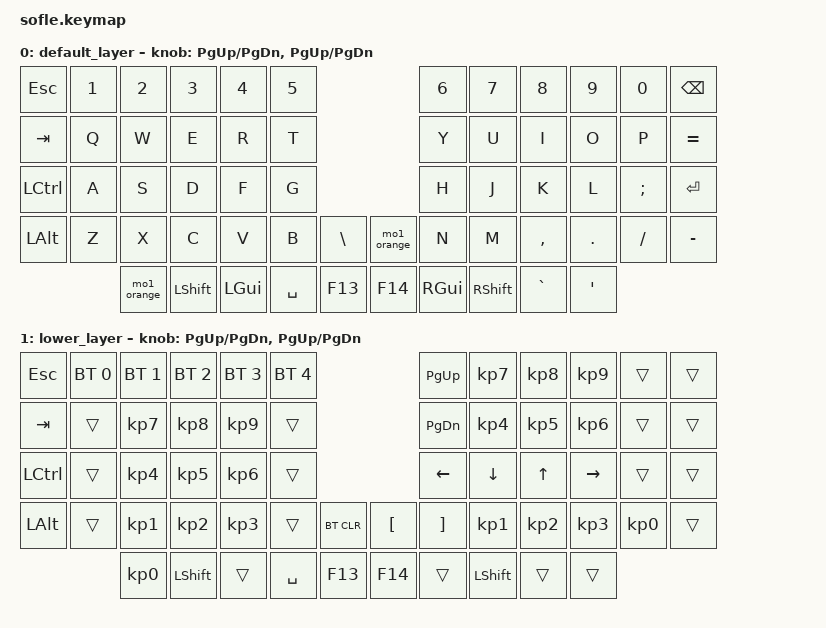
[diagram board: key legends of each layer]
/*
 * Copyright (c) 2020 The ZMK Contributors
 *
 * SPDX-License-Identifier: MIT
 */

#include <behaviors.dtsi>
#include <dt-bindings/zmk/keys.h>
#include <dt-bindings/zmk/bt.h>
#include <dt-bindings/zmk/ext_power.h>
#include <dt-bindings/zmk/rgb.h>

/ {
    macros {
        mo1_orange: mo1_orange {
            compatible = "zmk,behavior-macro";
            #binding-cells = <0>;
            bindings
                = <&macro_press &mo 1>
                , <&macro_tap &rgb_ug RGB_COLOR_HSB(30,100,30)>
                , <&macro_pause_for_release>
                , <&macro_release &mo 1>
                , <&macro_tap &rgb_ug RGB_COLOR_HSB(30,10,30)>
                ;
        };
    };

    keymap {
        compatible = "zmk,keymap";

        default_layer {
// ------------------------------------------------------------------------------------------------------------
// |  ESC  | 1(!)| 2(@)| 3(#) | 4($) | 5(%) |                        | 6(^)| 7(&)|  8(*)| 9(() |  0()) | bkspc |
// |  TAB  |  Q  |  W  |  E   |  R   |  T   |                        |  Y  |  U  |   I  |   O  |   P   |  =(+) |
// |Control|  A  |  S  |  D   |  F   |  G   |                        |  H  |  J  |   K  |   L  |  ;(:) | Enter |
// |  Opt  |  Z  |  X  |  C   |  V   |  B   |  \(|) |         |LAYER1|  N  |  M  | ,(<) | .(>) |  /(?) |  -(_) |
//               |LAYER1|LSHIFT| Com  |SPACE| ENG  |           | JPN  | Com | RSHIFT | `(~) | '(") |
            bindings = <
&kp ESC   &kp N1 &kp N2   &kp N3      &kp N4      &kp N5                               &kp N6  &kp N7   &kp N8    &kp N9   &kp N0    &kp BSPC
&kp TAB   &kp Q  &kp W    &kp E       &kp R       &kp T                                &kp Y   &kp U    &kp I     &kp O    &kp P     &kp EQUAL
&kp LCTRL &kp A  &kp S    &kp D       &kp F       &kp G                                &kp H   &kp J    &kp K     &kp L    &kp SEMI  &kp RET
&kp LALT  &kp Z  &kp X    &kp C       &kp V       &kp B   &kp BSLH     &mo1_orange     &kp N   &kp M    &kp COMMA &kp DOT  &kp FSLH  &kp MINUS
                 &mo1_orange  &kp LSHIFT  &kp LGUI  &kp SPACE &kp F13    &kp F14  &kp RGUI &kp RSHIFT &kp GRAVE &kp SQT
            >;

            sensor-bindings = <&inc_dec_kp PG_UP PG_DN &inc_dec_kp PG_UP PG_DN>;
        };

        lower_layer {
// ------------------------------------------------------------------------------------------------------------
// |  ESC  | BT0  | BT1  |  BT2 |  BT3 | BT4 |                  | PGUP |   7  |   8   |   9  |       |     |
// |  TAB  |      |   7  |   8  |   9  |     |                  | PGDW |  4   |   5   |   6  |       |     |
// |Control|      |   4  |   5  |   6  |     |                  |  <-  |  v   |   ^   |  ->  |       |     |
// |  Opt  |      |   1  |   2  |   3  |     | BTCLR |  | [({)  | ](}) |   1  |   2   |   3  |   0   |     |
//                |   0  |LSHIFT|     |SPACE |  ENG  |  | JPN   |      |LSHIFT|       |      |
            bindings = <
&kp ESC   &bt BT_SEL 0 &bt BT_SEL 1 &bt BT_SEL 2 &bt BT_SEL 3 &bt BT_SEL 4                    &kp PG_UP &kp KP_N7 &kp KP_N8 &kp KP_N9 &trans &trans
&kp TAB   &trans       &kp KP_N7    &kp KP_N8    &kp KP_N9    &trans                          &kp PG_DN &kp KP_N4 &kp KP_N5 &kp KP_N6 &trans &trans
&kp LCTRL &trans       &kp KP_N4    &kp KP_N5    &kp KP_N6    &trans                          &kp LEFT  &kp DOWN  &kp UP    &kp RIGHT &trans &trans
&kp LALT  &trans       &kp KP_N1    &kp KP_N2    &kp KP_N3    &trans    &bt BT_CLR  &kp LBKT  &kp RBKT  &kp KP_N1 &kp KP_N2 &kp KP_N3 &kp KP_N0 &trans
                       &kp KP_N0   &kp LSHFT    &trans       &kp SPACE &kp F13     &kp F14   &trans    &kp LSHFT &trans    &trans
            >;

            sensor-bindings = <&inc_dec_kp PG_UP PG_DN &inc_dec_kp PG_UP PG_DN>;
        };
    };
};
